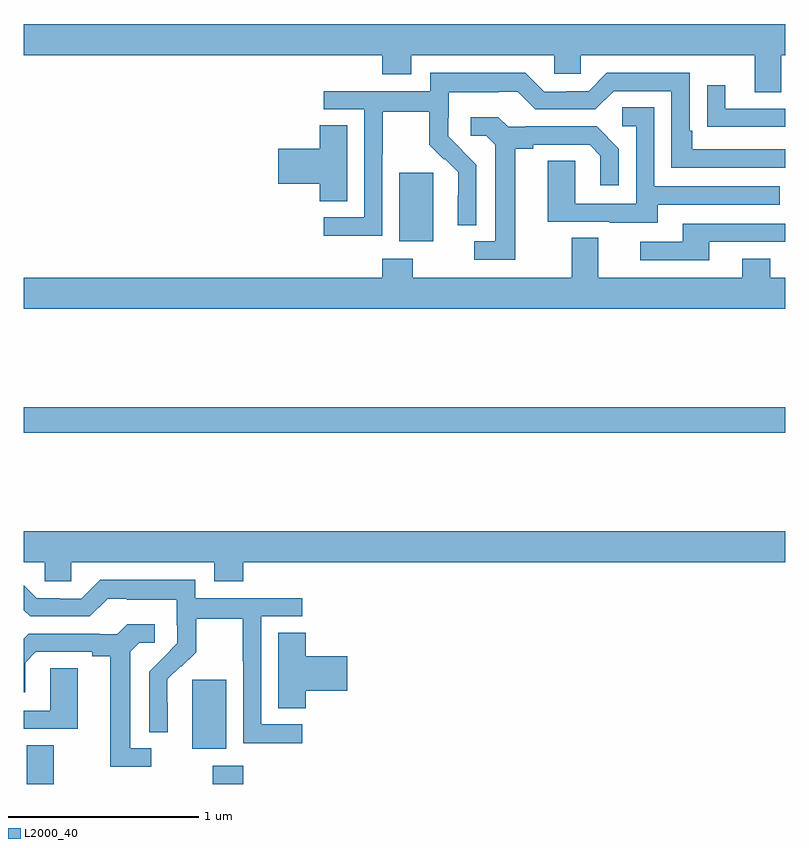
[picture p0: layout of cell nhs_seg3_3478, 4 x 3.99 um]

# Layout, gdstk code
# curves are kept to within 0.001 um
import gdstk
lib = gdstk.Library(unit=1e-6, precision=1e-09)
def R(c, l, rs):  # rectangles x0, y0, x1, y1
    for r in rs: c.add(gdstk.rectangle(r[:2], r[2:], *l))
def P(c, l, *ps):  # polygons
    for p in ps: c.add(gdstk.Polygon(p, *l))
L2000_40 = (2000, 40)

nhs_seg3_3478 = lib.new_cell('nhs_seg3_3478')
R(nhs_seg3_3478, L2000_40, [(291.017,718.4,291.157,718.604), (291.994,718.4,292.154,718.495), (291.884,718.586,292.063,718.947), (291,720.244,295,720.38), (292.973,721.25,293.152,721.611)])
P(nhs_seg3_3478, L2000_40, [(294.979,722.228),(295,722.228),(295,722.392),(291,722.392),(291,722.228),(292.883,722.228),(292.883,722.129),(293.035,722.129),(293.035,722.228),(293.787,722.228),(293.787,722.13),(293.925,722.13),(293.925,722.228),(294.839,722.228),(294.839,722.034),(294.979,722.034)],
  [(292.884,721.708),(292.887,721.708),(292.887,721.932),(293.131,721.932),(293.131,721.757),(293.208,721.68),(293.211,721.683),(293.282,721.613),(293.282,721.49),(293.28,721.49),(293.28,721.336),(293.376,721.336),(293.376,721.654),(293.23,721.802),(293.23,721.899),(293.232,721.899),(293.232,722.033),(293.495,722.033),(293.495,722.037),(293.595,722.037),(293.688,721.944),(294.003,721.944),(294.099,722.04),(294.402,722.04),(294.402,721.638),(295,721.638),(295,721.734),(294.511,721.734),(294.511,721.831),(294.498,721.831),(294.498,722.136),(294.063,722.136),(293.967,722.04),(293.849,722.04),(293.849,722.037),(293.733,722.037),(293.633,722.137),(293.136,722.137),(293.136,722.04),(292.575,722.04),(292.575,721.944),(292.788,721.944),(292.788,721.377),(292.575,721.377),(292.575,721.279),(292.884,721.279)],
  [(295,721.947),(294.685,721.947),(294.685,722.071),(294.589,722.071),(294.589,721.852),(294.691,721.852),(294.691,721.851),(295,721.851)],
  [(294.331,721.443),(294.971,721.443),(294.971,721.539),(294.312,721.539),(294.312,721.955),(294.144,721.955),(294.144,721.854),(294.216,721.854),(294.216,721.449),(293.898,721.449),(293.898,721.673),(293.753,721.673),(293.753,721.353),(294.077,721.353),(294.077,721.349),(294.331,721.349)],
  [(293.581,721.736),(293.677,721.736),(293.677,721.758),(293.972,721.758),(294.029,721.701),(294.029,721.545),(294.126,721.545),(294.126,721.738),(294.01,721.854),(293.638,721.854),(293.638,721.851),(293.544,721.851),(293.492,721.903),(293.349,721.903),(293.349,721.806),(293.43,721.806),(293.477,721.759),(293.477,721.251),(293.367,721.251),(293.367,721.155),(293.581,721.155)],
  [(292.699,721.859),(292.556,721.859),(292.556,721.736),(292.338,721.736),(292.338,721.553),(292.556,721.553),(292.556,721.462),(292.699,721.462)],
  [(294.601,721.248),(295,721.248),(295,721.344),(294.461,721.344),(294.461,721.248),(294.237,721.248),(294.237,721.152),(294.601,721.152)],
  [(295,721.06),(294.921,721.06),(294.921,721.159),(294.773,721.159),(294.773,721.06),(294.019,721.06),(294.019,721.268),(293.879,721.268),(293.879,721.06),(293.043,721.06),(293.043,721.159),(292.883,721.159),(292.883,721.06),(291,721.06),(291,720.896),(295,720.896)],
  [(292.154,719.564),(295,719.564),(295,719.728),(291,719.728),(291,719.564),(291.111,719.564),(291.111,719.466),(291.249,719.466),(291.249,719.564),(292.001,719.564),(292.001,719.465),(292.154,719.465)],
  [(292.462,718.713),(292.248,718.713),(292.248,719.28),(292.462,719.28),(292.462,719.376),(291.9,719.376),(291.9,719.473),(291.403,719.473),(291.303,719.373),(291.188,719.373),(291.188,719.376),(291.069,719.376),(291,719.445),(291,719.313),(291.033,719.28),(291.348,719.28),(291.441,719.373),(291.541,719.373),(291.541,719.369),(291.804,719.369),(291.804,719.235),(291.806,719.235),(291.806,719.138),(291.66,718.99),(291.66,718.672),(291.756,718.672),(291.755,718.949),(291.825,719.019),(291.828,719.016),(291.905,719.093),(291.905,719.268),(292.15,719.268),(292.15,719.044),(292.152,719.044),(292.152,718.615),(292.462,718.615)],
  [(291.67,718.587),(291.559,718.587),(291.559,719.095),(291.606,719.142),(291.688,719.142),(291.688,719.239),(291.544,719.239),(291.492,719.187),(291.398,719.187),(291.398,719.19),(291.026,719.19),(291,719.164),(291,718.881),(291.007,718.881),(291.007,719.037),(291.064,719.094),(291.359,719.094),(291.359,719.072),(291.455,719.072),(291.455,718.491),(291.67,718.491)],
  [(292.481,718.889),(292.699,718.889),(292.699,719.072),(292.481,719.072),(292.481,719.195),(292.337,719.195),(292.337,718.798),(292.481,718.798)],
  [(291.283,719.009),(291.138,719.009),(291.138,718.785),(291,718.785),(291,718.689),(291.283,718.689)])

lib.write_gds('nhs_seg3_3478.gds')
